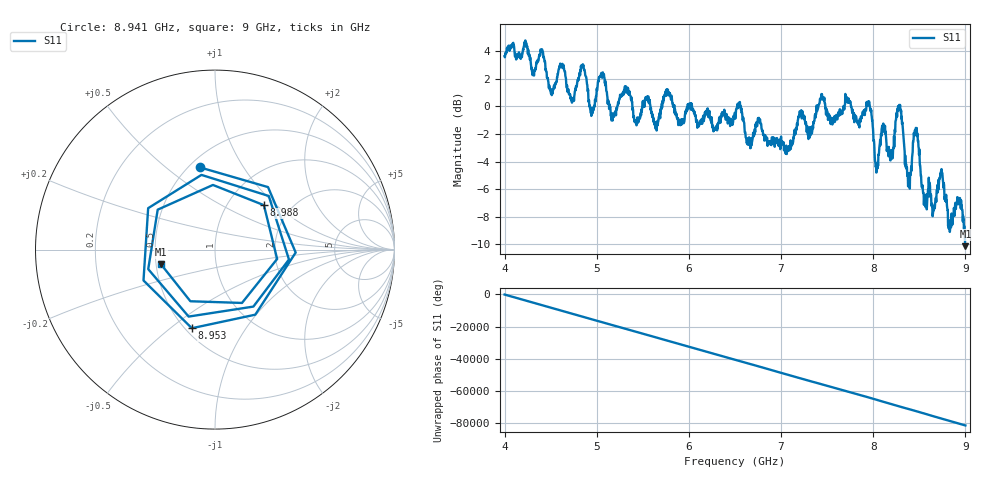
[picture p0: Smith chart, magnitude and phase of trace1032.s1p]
! Created with skrf 1.8.0 (http://scikit-rf.org).
# Hz S RI R 50.0
!freq ReS11 ImS11
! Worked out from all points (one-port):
!   1601 points, 4 GHz to 9 GHz, reference 50 ohm
!   lowest |S11| = -10.1 dB at 9 GHz (marker M1), VSWR 1.90, Z = 26.6 - j4.87 ohm
!   |S11| at or under -10 dB: 8.99804 GHz to end of sweep
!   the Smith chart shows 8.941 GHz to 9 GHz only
!   S11 on the Smith chart (normalised r, x): 8.941 GHz: 0.57, +0.66; 8.953 GHz: 0.54, -0.60; 8.988 GHz: 1.46, +0.84; 9 GHz: 0.53, -0.10
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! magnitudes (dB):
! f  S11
! 4 GHz  3.6
! 4.403 GHz  4.0
! 4.506 GHz  0.9
! 4.625 GHz  3.1
! 4.734 GHz  0.4
! 4.853 GHz  3.0
! 4.944 GHz  -0.5
! 5.053 GHz  2.3
! 5.169 GHz  -0.5
! 5.25 GHz  0.6
! 5.875 GHz  -0.9
! 6.5 GHz  -0.5
! 7.125 GHz  -2.7
! 7.444 GHz  0.9
! 7.75 GHz  0.4
! 7.953 GHz  0.3
! 8.041 GHz  -4.5
! 8.109 GHz  -1.2
! 8.203 GHz  -3.3
! 8.288 GHz  -0.1
! 8.375 GHz  -4.8
! 8.462 GHz  -1.6
! 8.562 GHz  -6.6
! 8.741 GHz  -4.5
! 8.941 GHz  -6.6
! 8.953 GHz  -6.8
! 8.988 GHz  -8.7
! 9 GHz  -10.1
